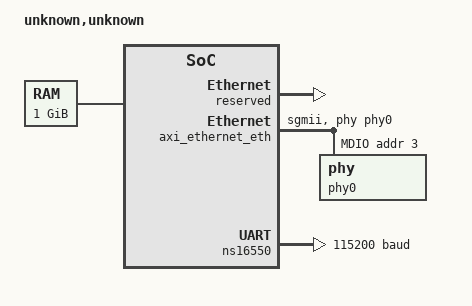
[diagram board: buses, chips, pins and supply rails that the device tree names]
#if CPU_SPEED == 0
#if __riscv_xlen == 32
#define CPU_SPEED 500000000
#else
#define CPU_SPEED 680000000
#endif
#endif

/dts-v1/;

/ {
	#address-cells = <1>;
	#size-cells = <1>;
	compatible = "unknown,unknown";
	model = "unknown,unknown";
	chosen {
		bootargs = "earlyprintk console=ttyS0,115200 loglevel=15";
                stdout-path = &ns16550;
	};
	cpus {
		#address-cells = <1>;
		#size-cells = <0>;
		timebase-frequency = <CPU_SPEED>;
		CPU0: cpu@0 {
			device_type = "cpu";
			reg = <0>;
			status = "okay";
			compatible = "riscv";
#if __riscv_xlen == 32
			riscv,isa = "rv32imac";
#else
			riscv,isa = "rv64imafdc";
			mmu-type = "riscv,sv39";
#endif
			clock-frequency = <CPU_SPEED>;
			dmas = <&axi_dma 0>, <&axi_dma 1>;
			dma-names = "tx", "rx";
			CPU0_intc: interrupt-controller {
				#interrupt-cells = <1>;
				interrupt-controller;
				compatible = "riscv,cpu-intc";
			};
		};
	};
	memory {
		device_type = "memory";
		reg = <0xC0000000 0x40000000>;
	};
	reserved-memory {
		#address-cells = <1>;
		#size-cells = <1>;
		ranges;

		reserved: ethernet@62100000 {
			compatible = "shared-dma-pool";
			no-map;
			reg = <0x80000000 0x40000000>;
			linux,dma-default;
		};
	};
	soc {
		#address-cells = <1>;
		#size-cells = <1>;
		compatible = "simple-bus";
		ranges;
		clint@10000000 {
			compatible = "riscv,clint0";
			interrupts-extended = <&CPU0_intc 3 &CPU0_intc 7>;
			reg = <0x10000000 0x10000>;
		};
		plic: interrupt-controller@11000000 {
			#interrupt-cells = <1>;
			compatible = "riscv,plic0";
			interrupt-controller;
			interrupts-extended = <&CPU0_intc 11 &CPU0_intc 9>;
			reg = <0xc000000 0x400000>;
			reg-names = "control";
			riscv,max-priority = <7>;
			riscv,ndev = <16>;
		};
		axi_ethernet_eth: ethernet@62100000 {
			compatible = "xlnx,axi-ethernet-7.01.a", "xlnx,axi-ethernet-1.00.a";
			memory-region = <&reserved>;
			device_type = "network";
			interrupts-extended = <&plic 2>;
			axistream-connected = <&axi_dma>;
			axistream-connected-control = <&axi_dma>;
			phy-mode = "sgmii";
			reg = <0x62100000 0x40000>;
			xlnx,rxcsum = <0x2>;
			xlnx,rxmem = <0x1000>;
			xlnx,txcsum = <0x2>;
			xlnx,phy-type = <0x4>;
			phy-handle = <&phy0>;
			xlnx,vcu118;
			local-mac-address = [00 0a 35 04 db 5a];
			clock-frequency = <CPU_SPEED>;
			axi_ethernet_mdio: mdio {
				#address-cells = <1>;
				#size-cells = <0>;
				phy0: phy@3 {
				      device_type = "ethernet-phy";
				      ti,fifo-depth = <1>;
				      reg = <3>;
				};
			};
		};
		axi_dma: dma@62200000 {
			#dma-cells = <1>;
			compatible = "xlnx,eth-dma";
			reg = <0x62200000 0x10000>;
			interrupts-extended = <&plic 3 &plic 4>;
			axistream-connected = <&axi_ethernet_eth>;
			axistream-connected-control = <&axi_ethernet_eth>;
		};
		ns16550: uart@62300000 {
			current-speed = <115200>;
			compatible = "ns16550a";
			interrupts-extended = <&plic 1>;
			reg = <0x62300000 0x1000>;
			clock-frequency = <CPU_SPEED>;
			reg-shift = <2>;
		};
	};
};
